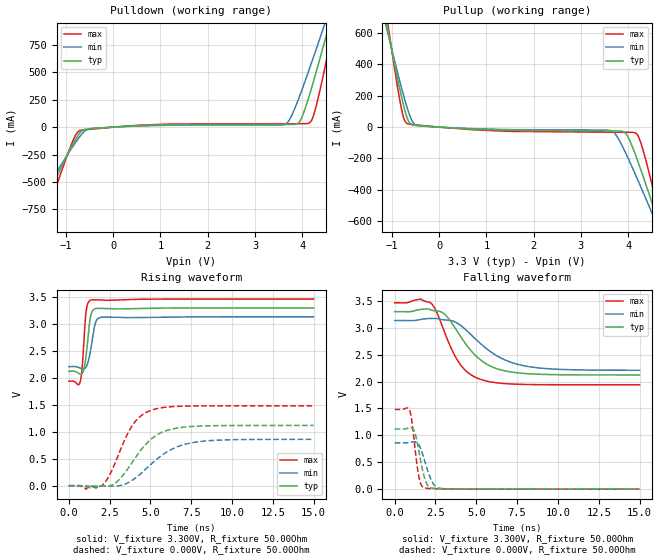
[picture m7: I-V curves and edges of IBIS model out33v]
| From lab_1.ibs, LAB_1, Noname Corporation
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[Model]   out33v
Model_type   Output
Vmeas = 1.400V
Vref = 1.400V
Cref = 5.000pF
Rref = 100.000Ohm
|   typ   min   max
C_comp   4.550pF   2.600pF   6.500pF
[Voltage Range]   3.300V   3.135V   3.465V
[Temperature Range]   50.0   100.0   0.0
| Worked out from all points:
|   slope of the pulldown table from 0 to 0.495 V, typ, clamps not added: 40.2 ohm
|   slope of the pullup table from 0 to 0.495 V, typ, clamps not added: 56.8 ohm
|   falling waveform, V_fixture 3.300V, R_fixture 50.00Ohm: 20-80 % time 1.91ns typ, 2.42ns min, 1.46ns max; typ from 3.3 V to 2.12 V
|   rising waveform, V_fixture 3.300V, R_fixture 50.00Ohm: 20-80 % time 254ps typ, 314ps min, 203ps max; typ from 2.12 V to 3.3 V
|   rising waveform, V_fixture 0.000V, R_fixture 50.00Ohm: 20-80 % time 1.77ns typ, 2.19ns min, 1.4ns max; typ from 0 V to 1.12 V
|   falling waveform, V_fixture 0.000V, R_fixture 50.00Ohm: 20-80 % time 455ps typ, 565ps min, 358ps max; typ from 1.12 V to 0 V
[Pulldown]
|   Voltage   I(typ)   I(min)   I(max)
-3.3V     -2.416A    -1.934A    -3.285A
-1.82V    -1.025A    -854mA     -1.334A
-1.495V   -723.9mA   -620.3mA   -911.6mA
-895mV    -188.7mA   -202.4mA   -167.5mA
-695mV    -46.69mA   -79.19mA   -29.44mA
3.635V    24.02mA    25.87mA    31.15mA
3.945V    51.97mA    284.2mA    31.27mA
4.15V     289.8mA    530.3mA    37.95mA
4.42V     698.1mA    869.7mA    425.4mA
4.525V    863.5mA    1.004A     636.9mA
4.68V     1.111A     1.203A     960.2mA
6.6V      4.259A     3.723A     5.152A
[Pullup]
|   Voltage   I(typ)   I(min)   I(max)
-3.3V     4.234A     3.486A     5.484A
-1.21V    816.3mA    756mA      919.3mA
-1.06V    581.6mA    567.8mA    607.3mA
-790mV    185.9mA    244mA      106.6mA
-655mV    42.99mA    103.1mA    20.44mA
-420mV    9.277mA    7.886mA    12.15mA
3.64V     -24.11mA   -22.59mA   -32.3mA
3.925V    -33.37mA   -151.4mA   -32.75mA
4.155V    -177.6mA   -304.2mA   -37.27mA
4.31V     -309.4mA   -411.9mA   -141.5mA
4.725V    -684.1mA   -707.3mA   -642.8mA
6.6V      -2.444A    -2.077A    -3.103A
[Ramp]
R_load = 50.00Ohm
|   typ   min   max
dV/dt_r   670.917mV/1.770ns   516.401mV/2.186ns   889.721mV/1.396ns
dV/dt_f   706.191mV/1.908ns   555.207mV/2.414ns   914.908mV/1.460ns
[Falling Waveform]
V_fixture = 3.300V
V_fixture_min = 3.135V
V_fixture_max = 3.465V
R_fixture = 50.00Ohm
|   Time   V(typ)   V(min)   V(max)
0s        3.3V       3.135V     3.465V
1.6ns     3.342V     3.156V     3.534V
2.25ns    3.329V     3.173V     3.451V
3ns       3.267V     3.148V     2.962V
3.9ns     2.903V     3.074V     2.371V
4.5ns     2.641V     2.923V     2.163V
5.275ns   2.4V       2.701V     2.04V
6.525ns   2.215V     2.436V     1.968V
8.1ns     2.148V     2.284V     1.946V
15ns      2.123V     2.21V      1.94V
[Rising Waveform]
V_fixture = 3.300V
V_fixture_min = 3.135V
V_fixture_max = 3.465V
R_fixture = 50.00Ohm
|   Time   V(typ)   V(min)   V(max)
0s        2.123V     2.21V      1.94V
700ps     2.071V     2.184V     1.929V
825ps     2.084V     2.169V     2.218V
950ps     2.194V     2.169V     2.791V
1.05ns    2.386V     2.196V     3.206V
1.175ns   2.738V     2.288V     3.389V
1.35ns    3.164V     2.536V     3.447V
1.65ns    3.288V     3.038V     3.451V
2ns       3.291V     3.127V     3.448V
15ns      3.3V       3.135V     3.465V
[Rising Waveform]
V_fixture = 0.000V
V_fixture_min = 0.000V
V_fixture_max = 0.000V
R_fixture = 50.00Ohm
|   Time   V(typ)   V(min)   V(max)
0s        210.1nV    237.2nV    148.9nV
1.05ns    -15.52mV   -3.878mV   -64.53mV
2.1ns     -10.15mV   -4.258mV   22.66mV
2.95ns    73.49mV    -6.577mV   505.4mV
3.9ns     439.4mV    103.9mV    1.122V
4.425ns   663.1mV    229.1mV    1.297V
5.125ns   883.8mV    422.3mV    1.408V
6.325ns   1.051V     679.1mV    1.468V
7.675ns   1.102V     804.9mV    1.48V
15ns      1.118V     860.7mV    1.483V
[Falling Waveform]
V_fixture = 0.000V
V_fixture_min = 0.000V
V_fixture_max = 0.000V
R_fixture = 50.00Ohm
|   Time   V(typ)   V(min)   V(max)
0s        1.118V     860.7mV    1.483V
925ps     1.143V     869.6mV    1.458V
1.05ns    1.137V     876.7mV    1.274V
1.225ns   1.058V     880.5mV    815.9mV
1.475ns   719.9mV    826.5mV    245.5mV
1.625ns   478.9mV    727.9mV    79.69mV
1.825ns   215.6mV    538.8mV    27.5mV
2.275ns   20.83mV    147.3mV    11.92mV
2.7ns     8.028mV    18.61mV    6.792mV
15ns      210.1nV    237.2nV    148.9nV
